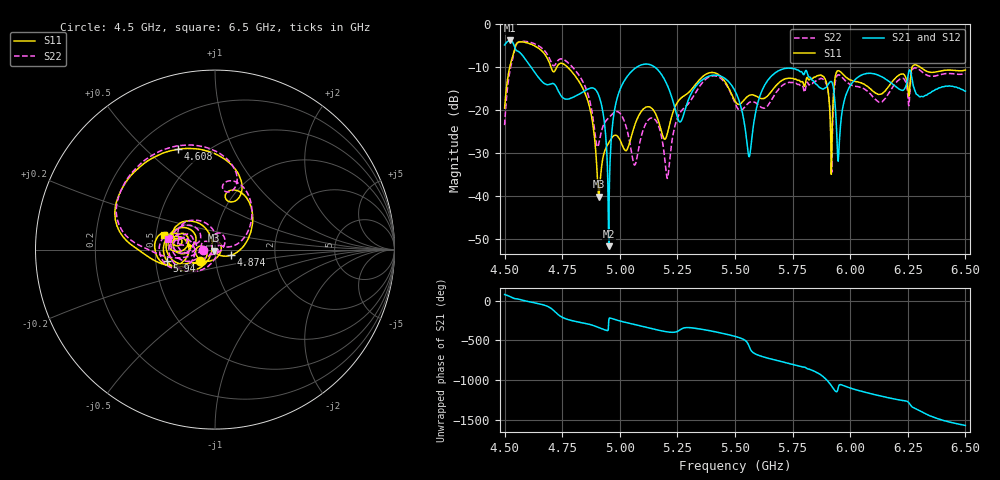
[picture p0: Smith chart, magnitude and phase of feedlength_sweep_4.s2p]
! TOUCHSTONE file generated by CST MICROWAVE STUDIO
! Date and time: Fri Nov 29 14:48:26 2024
! Project name: dual_circularly_polarized_waveguide_antenna.cst
! Parameters = {airCoaxOuterDiameter=3; chamferAngle=45; chamferWidth=24; connectorLength=10; drillingHoleDiameter=4.1; feedLength=75; flareDiameter=130; flareLength=70; gratingDistance=0; gratingGap=1.90274; outletLength=60; polarizerLength=134; probe1Diameter=1.3; probe1Distance=14.068; probe1Leng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
! Header version: 2018
! Port assignment regex: !\s*Touchstone port\s*([0-9]+)\s*=\s*(CST MWS port|CST DS port)\s*([0-9]+|Zmin|Zmax)\s*\(\"(.*)\"\)(\s*mode\s*([0-9]+))?.*
! Touchstone port assignment:
! Touchstone port 1 = CST MWS port 1 ("Input1")
! Touchstone port 2 = CST MWS port 2 ("Input2")
# GHz S MA R 50
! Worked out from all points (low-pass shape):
!   1001 points, 4.5 GHz to 6.5 GHz, reference 50 ohm
!   highest |S21| = -3.78 dB at 4.524 GHz (marker M1); lowest = -51.7 dB at 4.952 GHz (marker M2)
!   |S21| within 3 dB of the highest: start of sweep to 4.57 GHz
!   lowest |S11| = -40.2 dB at 4.908 GHz (marker M3), VSWR 1.02, Z = 49.3 - j0.672 ohm
!   |S11| at or under -10 dB: 4.702 GHz to 4.726 GHz (24.85 MHz wide, 0.527 % of centre); 4.773 GHz to 6.269 GHz (1.495 GHz wide, 27.1 % of centre); 6.304 GHz to end of sweep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
!   |S22| runs from -35.9 to -4.0 dB; largest |S21 - S12| = 3.1e-06
!   S11 on the Smith chart (normalised r, x): 4.5 GHz: 0.84, -0.11; 4.608 GHz: 0.37, +0.63; 4.874 GHz: 1.19, -0.08; 5.94 GHz: 0.58, -0.08; 6.5 GHz: 0.55, +0.10
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4.5  0.1051 -142.7  0.574 79.0  0.574 79.0  0.06678 -179.6
4.524  0.3327 -168.5  0.6474 52.6  0.6474 52.6  0.2949 -173.5
4.608  0.5955 110.2  0.3345 -12.4  0.3345 -12.4  0.6193 112.7
4.834  0.1915 17.1  0.1589 85.2  0.1589 85.2  0.2284 32.6
4.874  0.09376 -19.8  0.1809 59.1  0.1809 59.1  0.1137 12.3
4.908  0.009816 -136.1  0.1497 23.6  0.1497 23.6  0.03949 68.1
4.952  0.04145 108.1  0.002592 108.9  0.002592 108.9  0.08111 86.7
5.008  0.04054 36.3  0.1919 99.9  0.1919 99.9  0.08621 53.4
5.064  0.06551 -108.9  0.3032 61.7  0.3032 61.7  0.02279 -64.5
5.168  0.07424 164.9  0.2883 -10.4  0.2883 -10.4  0.06553 135.1
5.206  0.05262 -147.4  0.1952 -31.5  0.1952 -31.5  0.01595 173.2
5.262  0.135 -146.8  0.0725 -5.0  0.0725 -5.0  0.09343 -147.5
5.366  0.2532 -169.8  0.2328 -4.0  0.2328 -4.0  0.2196 -170.4
5.5  0.1273 146.7  0.1676 -88.1  0.1676 -88.1  0.1203 132.9
5.562  0.1485 171.1  0.02864 140.7  0.02864 140.7  0.1229 162.9
5.652  0.1575 -173.6  0.2391 -9.7  0.2391 -9.7  0.1226 -175.4
5.834  0.2315 164.8  0.2239 -154.9  0.2239 -154.9  0.2035 162.3
5.916  0.04179 112.3  0.2157 20.2  0.2157 20.2  0.05293 72.3
5.94  0.2739 -166.2  0.06666 -66.0  0.06666 -66.0  0.2421 -162.5
6.026  0.2144 156.1  0.2331 -42.1  0.2331 -42.1  0.1887 154.1
6.168  0.1898 -177.3  0.2163 -143.0  0.2163 -143.0  0.1579 -174.5
6.5  0.2924 164.4  0.1657 -131.0  0.1657 -131.0  0.2668 167.0
